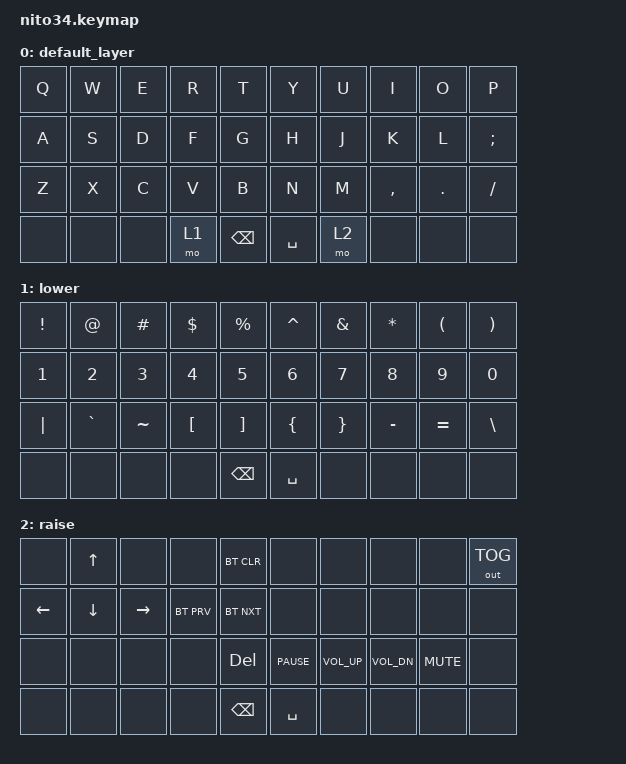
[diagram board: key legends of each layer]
/*
 * Copyright (c) 2020 The ZMK Contributors
 *
 * SPDX-License-Identifier: MIT
 */

#include <behaviors.dtsi>
#include <dt-bindings/zmk/keys.h>
#include <dt-bindings/zmk/bt.h>
#include <dt-bindings/zmk/outputs.h>

/ {
    keymap {
        compatible = "zmk,keymap";

        default_layer {
            // -------------------------------------------------------------
            // |  Q  |  W  |  E  |  R  |  T  |  Y  |  U  |  I  |  O  |  P  |
            // |  A  |  S  |  D  |  F  |  G  |  H  |  J  |  K  |  L  |  ;  |
            // |  Z  |  X  |  C  |  V  |  B  |  N  |  M  |  ,  |  .  |  /  |
            // |     |     |     | LYR1| BKSP| SCP | LYR2|     |     |     |
            bindings = <
                &kp Q   &kp W   &kp E   &kp R   &kp T       &kp Y       &kp U   &kp I       &kp O   &kp P
                &kp A   &kp S   &kp D   &kp F   &kp G       &kp H       &kp J   &kp K       &kp L   &kp SEMI
                &kp Z   &kp X   &kp C   &kp V   &kp B       &kp N       &kp M   &kp COMMA   &kp DOT &kp SLASH
                &none   &none   &none   &mo 1   &kp BSPC    &kp SPACE   &mo 2   &none       &none   &none
            >;
        };

        lower {
            // -------------------------------------------------------------
            // |  !  |  @  |  #  |  $  |  %  |  ^  |  &  |  *  |  (  |  )  |
            // |  1  |  2  |  3  |  4  |  5  |  6  |  7  |  8  |  9  |  0  |
            // |  |  |  ´  |  ~  |  [  |  ]  |  {  |  }  |  -  |  =  |  \  |
            // |     |     |     |     | BKSP| SCP |     |     |     |     |
            bindings = <
                &kp EXCL    &kp AT      &kp POUND   &kp DLLR    &kp PRCNT   &kp CARET   &kp AMPS    &kp STAR    &kp LPAR    &kp RPAR
                &kp 1       &kp 2       &kp 3       &kp 4       &kp 5       &kp 6       &kp 7       &kp 8       &kp 9       &kp 0
                &kp PIPE    &kp GRAVE   &kp TILDE   &kp LBKT    &kp RBKT    &kp LBRC    &kp RBRC    &kp MINUS   &kp EQUAL   &kp BSLH
                &none       &none       &none       &none       &kp BSPC    &kp SPACE   &none       &none       &none       &none
            >;
        };

        raise {
            // -------------------------------------------------------------
            // |     |  ↑  |     |      |ClearBT|     |     |      |      |TogBT/USB|
            // |  ←  |  ↓  |  →  |PrevBT|NextBT |     |     |      |      |         |
            // |     |     |     |      | DEL   |PAUSE| VOL+| VOL-|| Mute |
            // |     |     |     |      | BKSP  | SCP |     |      |      |         |
            bindings = <
                &none       &kp UP      &none       &none       &bt BT_CLR &none       &none           &none           &none       &out OUT_TOG
                &kp LEFT    &kp DOWN    &kp RIGHT   &bt BT_PRV  &bt BT_NXT &none       &none           &none           &none       &none
                &none       &none       &none       &none       &kp DEL    &kp C_PAUSE &kp C_VOL_UP    &kp C_VOL_DN    &kp K_MUTE       &none
                &none       &none       &none       &none       &kp BSPC   &kp SPACE   &none           &none           &none       &none
            >;
        };
    };
};
